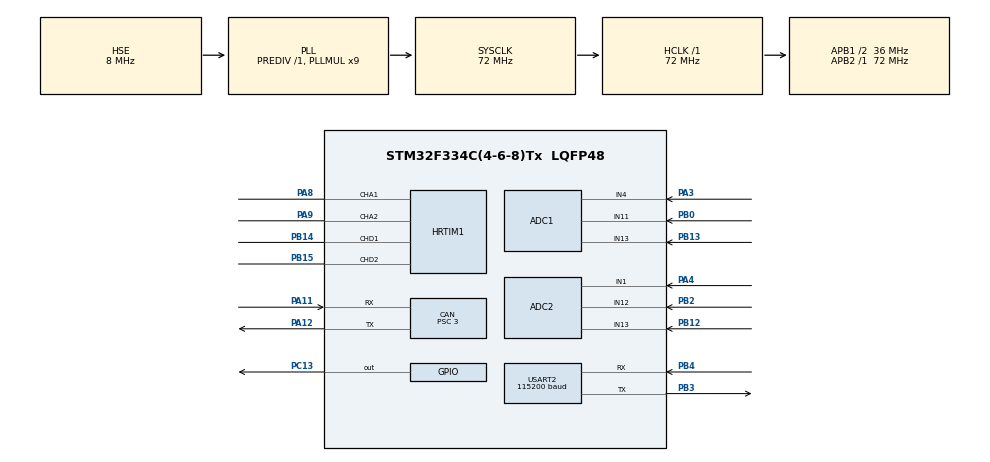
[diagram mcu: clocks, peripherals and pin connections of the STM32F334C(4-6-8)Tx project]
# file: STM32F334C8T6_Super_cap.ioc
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ADC1.Channel-0\#ChannelRegularConversion=ADC_CHANNEL_4
ADC1.Channel-1\#ChannelRegularConversion=ADC_CHANNEL_11
ADC1.Channel-2\#ChannelRegularConversion=ADC_CHANNEL_13
ADC1.ClockPrescaler=ADC_CLOCK_SYNC_PCLK_DIV1
ADC1.ContinuousConvMode=ENABLE
ADC1.DMAContinuousRequests=ENABLE
ADC1.EOCSelection=ADC_EOC_SINGLE_CONV
ADC1.EnableInjectedConversion=DISABLE
ADC1.ExternalTrigConv=ADC_SOFTWARE_START
ADC1.NbrOfConversion=3
ADC1.NbrOfConversionFlag=1
ADC1.Offset-0\#ChannelRegularConversion=0
ADC1.Offset-1\#ChannelRegularConversion=0
ADC1.Offset-2\#ChannelRegularConversion=0
ADC1.OffsetNumber-0\#ChannelRegularConversion=ADC_OFFSET_NONE
ADC1.OffsetNumber-1\#ChannelRegularConversion=ADC_OFFSET_NONE
ADC1.OffsetNumber-2\#ChannelRegularConversion=ADC_OFFSET_NONE
ADC1.Rank-0\#ChannelRegularConversion=1
ADC1.Rank-1\#ChannelRegularConversion=2
ADC1.Rank-2\#ChannelRegularConversion=3
ADC1.SamplingTime-0\#ChannelRegularConversion=ADC_SAMPLETIME_601CYCLES_5
ADC1.SamplingTime-1\#ChannelRegularConversion=ADC_SAMPLETIME_601CYCLES_5
ADC1.SamplingTime-2\#ChannelRegularConversion=ADC_SAMPLETIME_601CYCLES_5
ADC1.SamplingTimeOPAMP-1\#ChannelRegularConversion=ADC_SAMPLETIME_61CYCLES_5
ADC1.SamplingTimeOPAMP-2\#ChannelRegularConversion=ADC_SAMPLETIME_61CYCLES_5
ADC1.SubFamily=STM32F334x8
ADC1.master=1
ADC2.Channel-0\#ChannelRegularConversion=ADC_CHANNEL_1
ADC2.Channel-1\#ChannelRegularConversion=ADC_CHANNEL_12
ADC2.Channel-2\#ChannelRegularConversion=ADC_CHANNEL_13
ADC2.ClockPrescaler=ADC_CLOCK_SYNC_PCLK_DIV1
ADC2.ContinuousConvMode=ENABLE
ADC2.DMAContinuousRequests=ENABLE
ADC2.EOCSelection=ADC_EOC_SINGLE_CONV
ADC2.EnableInjectedConversion=DISABLE
ADC2.ExternalTrigConv=ADC_SOFTWARE_START
ADC2.NbrOfConversion=3
ADC2.NbrOfConversionFlag=1
ADC2.Offset-0\#ChannelRegularConversion=0
ADC2.Offset-1\#ChannelRegularConversion=0
ADC2.Offset-2\#ChannelRegularConversion=0
ADC2.OffsetNumber-0\#ChannelRegularConversion=ADC_OFFSET_NONE
ADC2.OffsetNumber-1\#ChannelRegularConversion=ADC_OFFSET_NONE
ADC2.OffsetNumber-2\#ChannelRegularConversion=ADC_OFFSET_NONE
ADC2.Rank-0\#ChannelRegularConversion=1
ADC2.Rank-1\#ChannelRegularConversion=2
ADC2.Rank-2\#ChannelRegularConversion=3
ADC2.SamplingTime-0\#ChannelRegularConversion=ADC_SAMPLETIME_601CYCLES_5
ADC2.SamplingTime-1\#ChannelRegularConversion=ADC_SAMPLETIME_601CYCLES_5
ADC2.SamplingTime-2\#ChannelRegularConversion=ADC_SAMPLETIME_601CYCLES_5
ADC2.SamplingTimeOPAMP-1\#ChannelRegularConversion=ADC_SAMPLETIME_61CYCLES_5
ADC2.SamplingTimeOPAMP-2\#ChannelRegularConversion=ADC_SAMPLETIME_61CYCLES_5
ADC2.SubFamily=STM32F334x8
CAN.BS1=CAN_BS1_7TQ
CAN.BS2=CAN_BS2_4TQ
CAN.CalculateBaudRate=999999
CAN.CalculateTimeBit=1000
CAN.CalculateTimeQuantum=83.33333333333334
CAN.Prescaler=3
Dma.ADC1.0.Direction=DMA_PERIPH_TO_MEMORY
Dma.ADC1.0.Instance=DMA1_Channel1
Dma.ADC1.0.MemDataAlignment=DMA_MDATAALIGN_HALFWORD
Dma.ADC1.0.MemInc=DMA_MINC_ENABLE
Dma.ADC1.0.Mode=DMA_CIRCULAR
Dma.ADC1.0.PeriphDataAlignment=DMA_PDATAALIGN_HALFWORD
Dma.ADC1.0.PeriphInc=DMA_PINC_DISABLE
Dma.ADC1.0.Priority=DMA_PRIORITY_HIGH
Dma.ADC2.1.Direction=DMA_PERIPH_TO_MEMORY
Dma.ADC2.1.Instance=DMA1_Channel2
Dma.ADC2.1.MemDataAlignment=DMA_MDATAALIGN_HALFWORD
Dma.ADC2.1.MemInc=DMA_MINC_ENABLE
Dma.ADC2.1.Mode=DMA_CIRCULAR
Dma.ADC2.1.PeriphDataAlignment=DMA_PDATAALIGN_HALFWORD
Dma.ADC2.1.PeriphInc=DMA_PINC_DISABLE
Dma.ADC2.1.Priority=DMA_PRIORITY_HIGH
Dma.Request0=ADC1
Dma.Request1=ADC2
HRTIM1.CompareUnit1-Output_TA1TA2=HRTIM_COMPAREUNIT_1
HRTIM1.CompareUnit1-Output_TD1TD2=HRTIM_COMPAREUNIT_1
HRTIM1.CompareUnit2-Output_TA1TA2=HRTIM_COMPAREUNIT_2
HRTIM1.CompareUnit2-Output_TD1TD2=HRTIM_COMPAREUNIT_2
HRTIM1.CompareValue1-Output_TA1TA2=65503
HRTIM1.CompareValue1-Output_TD1TD2=65503
HRTIM1.CompareValue2-Output_TA1TA2=65503
HRTIM1.CompareValue2-Output_TD1TD2=65503
HRTIM1.DeadTimeInsertion-Output_TA1TA2=HRTIM_TIMDEADTIMEINSERTION_ENABLED
HRTIM1.DeadTimeInsertion-Output_TD1TD2=HRTIM_TIMDEADTIMEINSERTION_ENABLED
HRTIM1.FallingValue-Output_TA1TA2=300
HRTIM1.FallingValue-Output_TD1TD2=300
HRTIM1.NumberResetSource1-Output_TA1TA2=1
HRTIM1.NumberResetSource1-Output_TD1TD2=1
HRTIM1.NumberResetTrigger-Output_TA1TA2=1
HRTIM1.NumberResetTrigger-Output_TD1TD2=1
HRTIM1.NumberSetSource1-Output_TA1TA2=1
HRTIM1.NumberSetSource1-Output_TD1TD2=1
HRTIM1.Periode_MASTER=46080
HRTIM1.Periode_TA=46080
HRTIM1.Periode_TD=46080
HRTIM1.PreloadEnable-Output_TA1TA2=HRTIM_PRELOAD_ENABLED
HRTIM1.PreloadEnable-Output_TD1TD2=HRTIM_PRELOAD_ENABLED
HRTIM1.PrescalerDead-Output_TD1TD2=HRTIM_TIMDEADTIME_PRESCALERRATIO_MUL8
HRTIM1.PushPull-Output_TA1TA2=HRTIM_TIMPUSHPULLMODE_DISABLED
HRTIM1.RepetitionUpdate-MasterTimer=HRTIM_UPDATEONREPETITION_ENABLED
HRTIM1.RepetitionUpdate-Output_TA1TA2=HRTIM_UPDATEONREPETITION_ENABLED
HRTIM1.RepetitionUpdate-Output_TD1TD2=HRTIM_UPDATEONREPETITION_ENABLED
HRTIM1.ResetOutput1_Source1-Output_TA1TA2=HRTIM_OUTPUTRESET_TIMCMP1
HRTIM1.ResetOutput1_Source1-Output_TD1TD2=HRTIM_OUTPUTRESET_TIMCMP1
HRTIM1.ResetTrigger1-Output_TA1TA2=HRTIM_TIMRESETTRIGGER_MASTER_PER
HRTIM1.ResetTrigger1-Output_TD1TD2=HRTIM_TIMRESETTRIGGER_MASTER_PER
HRTIM1.RisingValue-Output_TA1TA2=300
HRTIM1.RisingValue-Output_TD1TD2=300
HRTIM1.SetOutput1_Source1-Output_TA1TA2=HRTIM_OUTPUTSET_TIMPER
HRTIM1.SetOutput1_Source1-Output_TD1TD2=HRTIM_OUTPUTSET_TIMPER
Mcu.Family=STM32F3
Mcu.Name=STM32F334C(4-6-8)Tx
Mcu.Package=LQFP48
NVIC.CAN_RX0_IRQn=true\:0\:0\:false\:false\:true\:true\:true\:true
NVIC.DMA1_Channel1_IRQn=true\:0\:0\:false\:false\:true\:false\:true\:true
NVIC.DMA1_Channel2_IRQn=true\:0\:0\:false\:false\:true\:false\:true\:true
NVIC.PriorityGroup=NVIC_PRIORITYGROUP_4
NVIC.TIM2_IRQn=true\:0\:0\:false\:false\:true\:true\:true\:true
PA11.Mode=CAN_Activate
PA11.Signal=CAN_RX
PA12.Mode=CAN_Activate
PA12.Signal=CAN_TX
PA13.Mode=Serial_Wire
PA13.Signal=SYS_JTMS-SWDIO
PA14.Mode=Serial_Wire
PA14.Signal=SYS_JTCK-SWCLK
PA3.Mode=IN4-Single-Ended
PA3.Signal=ADC1_IN4
PA4.Mode=IN1-Single-Ended
PA4.Signal=ADC2_IN1
PA8.Mode=Output_TA1TA2
PA8.Signal=HRTIM1_CHA1
PA9.Mode=Output_TA1TA2
PA9.Signal=HRTIM1_CHA2
PB0.Mode=IN11-Single-Ended
PB0.Signal=ADC1_IN11
PB12.Mode=IN13-Single-Ended
PB12.Signal=ADC2_IN13
PB13.Mode=IN13-Single-Ended
PB13.Signal=ADC1_IN13
PB14.Mode=Output_TD1TD2
PB14.Signal=HRTIM1_CHD1
PB15.Mode=Output_TD1TD2
PB15.Signal=HRTIM1_CHD2
PB2.Mode=IN12-Single-Ended
PB2.Signal=ADC2_IN12
PB3.Mode=Asynchronous
PB3.Signal=USART2_TX
PB4.Mode=Asynchronous
PB4.Signal=USART2_RX
PC13.Signal=GPIO_Output
PF0\ /\ OSC_IN.Mode=HSE-External-Oscillator
PF0\ /\ OSC_IN.Signal=RCC_OSC_IN
PF1\ /\ OSC_OUT.Mode=HSE-External-Oscillator
PF1\ /\ OSC_OUT.Signal=RCC_OSC_OUT
ProjectManager.HeapSize=0x200
ProjectManager.StackSize=0x400
ProjectManager.TargetToolchain=MDK-ARM V5.32
RCC.AHBFreq_Value=72000000
RCC.APB1CLKDivider=RCC_HCLK_DIV2
RCC.APB1Freq_Value=36000000
RCC.APB1TimFreq_Value=72000000
RCC.APB2Freq_Value=72000000
RCC.APB2TimFreq_Value=72000000
RCC.CortexFreq_Value=72000000
RCC.HCLKFreq_Value=72000000
RCC.HRTIMSelection=RCC_HRTIM1CLK_PLLCLK
RCC.HSE_VALUE=8000000
RCC.HSI_VALUE=8000000
RCC.LSE_VALUE=32768
RCC.PLLMUL=RCC_PLL_MUL9
RCC.PLLSourceVirtual=RCC_PLLSOURCE_HSE
RCC.SYSCLKFreq_VALUE=72000000
RCC.SYSCLKSourceVirtual=RCC_SYSCLKSOURCE_PLLCLK
TIM2.AutoReloadPreload=TIM_AUTORELOAD_PRELOAD_DISABLE
TIM2.Period=100-1
TIM2.Prescaler=72-1
USART2.BaudRate=115200
USART2.VirtualMode-Asynchronous=VM_ASYNC
VP_HRTIM1_VS_hrtimMasterTimerNoOutput.Mode=MasterTimer
VP_TIM2_VS_ClockSourceINT.Mode=Internal
board=custom

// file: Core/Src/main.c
/* USER CODE BEGIN Header */
/**
  ******************************************************************************
  * @file           : main.c
  * @brief          : Main program body
  ******************************************************************************
  * @attention
  *
  * Copyright (c) 2024 STMicroelectronics.
  * All rights reserved.
  *
  * This software is licensed under terms that can be found in the LICENSE file
  * in the root directory of this software component.
  * If no LICENSE file comes with this software, it is provided AS-IS.
  *
  ******************************************************************************
  */
/* USER CODE END Header */
#include "main.h"
#include "adc.h"
#include "can.h"
#include "dma.h"
#include "hrtim.h"
#include "tim.h"
#include "usart.h"
#include "gpio.h"

/* USER CODE BEGIN Includes */
#include "system.h"
/* USER CODE END Includes */

void SystemClock_Config(void);

/* USER CODE BEGIN 0 */
int16_t data[4];
float PID_motor[3]={2,0.02,0};
pid_type_def pid_motor;

extern adc_data_t adc_data;
extern power_data_t power_data;
extern supercap_measure_t supercap_measure;//功率控制数据返回指针
extern motor_measure_t motor_chassis[7];//rm电机数据返回结构体

int speed;
int count=0;//定时器计数器
/* USER CODE END 0 */

int main(void)
{

  /* MCU Configuration--------------------------------------------------------*/

  /* Reset of all peripherals, Initializes the Flash interface and the Systick. */
  HAL_Init();

  /* Configure the system clock */
  SystemClock_Config();

  /* Initialize all configured peripherals */
  MX_GPIO_Init();
  MX_DMA_Init();
  MX_HRTIM1_Init();
  MX_ADC1_Init();
  MX_ADC2_Init();
  MX_CAN_Init();
  MX_TIM2_Init();
  MX_USART2_UART_Init();
  /* USER CODE BEGIN 2 */
	system_init();
//	PID_init(&pid_motor,PID_motor,1000,1000,10000);
  /* USER CODE END 2 */

  /* Infinite loop */
  while (1)
  {

    /* USER CODE BEGIN 3 */
//		CAN_SendData(&hcan,0x200,data);
//		PID_calc(&pid_motor,motor_chassis[0].speed_rpm,speed);
//		data[0]=pid_motor.out;

//		hhrtim1.Instance->sTimerxRegs[0].CMP1xR = 23040-2304;
//		hhrtim1.Instance->sTimerxRegs[0].CMP2xR = 23040+2304;
//		hhrtim1.Instance->sTimerxRegs[3].CMP1xR = 23040+2304;
//		hhrtim1.Instance->sTimerxRegs[3].CMP2xR = 23040-2304;

//		Set_HRTIMA(Floor(0.03f * PERIOD));
//		Set_HRTIMD(Floor(0.9f * PERIOD));
//		Set_Sample(Floor(0.9f * PERIOD)/2);

		MyPrintf(&huart2,"%lf,%lf,%lf,%lf,%lf,%lf\r\n ",adc_data.bat_v,adc_data.cap_v,adc_data.chas_v,adc_data.bat_i,adc_data.cap_i,adc_data.chas_i);
  }
  /* USER CODE END 3 */
}

void SystemClock_Config(void)
{
  RCC_OscInitTypeDef RCC_OscInitStruct = {0};
  RCC_ClkInitTypeDef RCC_ClkInitStruct = {0};
  RCC_PeriphCLKInitTypeDef PeriphClkInit = {0};

  /** Initializes the RCC Oscillators according to the specified parameters
  * in the RCC_OscInitTypeDef structure.
  */
  RCC_OscInitStruct.OscillatorType = RCC_OSCILLATORTYPE_HSE;
  RCC_OscInitStruct.HSEState = RCC_HSE_ON;
  RCC_OscInitStruct.HSEPredivValue = RCC_HSE_PREDIV_DIV1;
  RCC_OscInitStruct.HSIState = RCC_HSI_ON;
  RCC_OscInitStruct.PLL.PLLState = RCC_PLL_ON;
  RCC_OscInitStruct.PLL.PLLSource = RCC_PLLSOURCE_HSE;
  RCC_OscInitStruct.PLL.PLLMUL = RCC_PLL_MUL9;
  if (HAL_RCC_OscConfig(&RCC_OscInitStruct) != HAL_OK)
  {
    Error_Handler();
  }

  /** Initializes the CPU, AHB and APB buses clocks
  */
  RCC_ClkInitStruct.ClockType = RCC_CLOCKTYPE_HCLK|RCC_CLOCKTYPE_SYSCLK
                              |RCC_CLOCKTYPE_PCLK1|RCC_CLOCKTYPE_PCLK2;
  RCC_ClkInitStruct.SYSCLKSource = RCC_SYSCLKSOURCE_PLLCLK;
  RCC_ClkInitStruct.AHBCLKDivider = RCC_SYSCLK_DIV1;
  RCC_ClkInitStruct.APB1CLKDivider = RCC_HCLK_DIV2;
  RCC_ClkInitStruct.APB2CLKDivider = RCC_HCLK_DIV1;

  if (HAL_RCC_ClockConfig(&RCC_ClkInitStruct, FLASH_LATENCY_2) != HAL_OK)
  {
    Error_Handler();
  }
  PeriphClkInit.PeriphClockSelection = RCC_PERIPHCLK_HRTIM1;
  PeriphClkInit.Hrtim1ClockSelection = RCC_HRTIM1CLK_PLLCLK;
  if (HAL_RCCEx_PeriphCLKConfig(&PeriphClkInit) != HAL_OK)
  {
    Error_Handler();
  }
}

int8_t protect_open=0;
float chassis_power=0;
/* USER CODE BEGIN 4 */
void HAL_TIM_PeriodElapsedCallback(TIM_HandleTypeDef *htim)
{//系统定时器1000Hz
  if(htim->Instance == TIM2)
  {
		//计数器变量
		count++;

		//电容组电流采样
		adc_data.adc_list_sum[4]=0;
    for(uint8_t i=0;i<aver_sample_len;i++)
    {
      adc_data.adc_list_sum[4]+=adc_data.adc2_list_record[i][1];
    }
    adc_data.adc_list_aver[4]=adc_data.adc_list_sum[4]/aver_sample_len;
    adc_data.cap_i=(((float)adc_data.adc_list_aver[4]/4096*3.3f-1.65f)/0.075f)*adc_data.cap_i_m+adc_data.cap_i_a;
		//电容组电流采样

		//输入输出采样
		adc_solve();

		//输入，输出，电容端过流过压保护
		if(protect_open==1)
		{
//			voltage_circuitr_off();
			//模式选择
			mode_choose();
		}

		//输出函数
		Power_Loop();

//		//CAN发送
//		can_send();

		//实时功率计算
		chassis_power=adc_data.chas_v*adc_data.chas_i;

		//系统状态灯
		if(count%1000==0)
		{//100hz任务
			led_error();
			count=0;
		}
	}
}
/* USER CODE END 4 */

void Error_Handler(void)
{
  __disable_irq();
  while (1)
  {
  }
}
